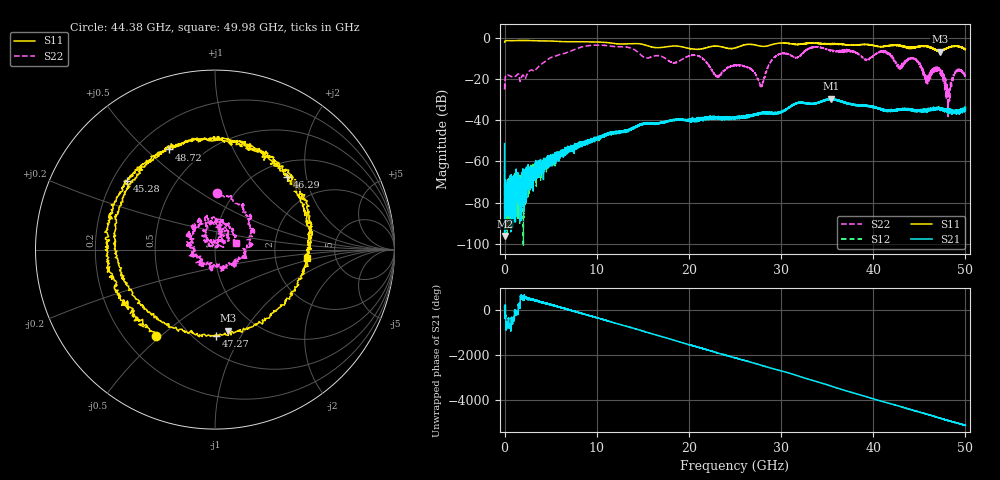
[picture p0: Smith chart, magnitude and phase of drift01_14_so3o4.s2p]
!Created with skrf (http://scikit-rf.org).
# Hz S RI R 50.0
!freq ReS11 ImS11 ReS21 ImS21 ReS12 ImS12 ReS22 ImS22
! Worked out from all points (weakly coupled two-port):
!   10001 points, 300 kHz to 50 GHz, reference 50 ohm
!   highest |S21| = -29.52 dB at 35.42 GHz (marker M1); lowest = -96.2 dB at 5.3 MHz (marker M2)
!   lowest |S11| = -6.8 dB at 47.22 GHz (marker M3), VSWR 2.69, Z = 37.1 - j42.4 ohm
!   |S11| at or under -10 dB: nowhere
!   |S22| runs from -38.2 to -3.6 dB; largest |S21 - S12| = 0.0037
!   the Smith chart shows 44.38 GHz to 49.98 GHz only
!   S11 on the Smith chart (normalised r, x): 44.38 GHz: 0.33, -0.48; 45.28 GHz: 0.26, +0.32; 46.29 GHz: 1.29, +1.54; 47.27 GHz: 0.63, -0.79; 48.72 GHz: 0.33, +0.59; 49.98 GHz: 3.07, -0.39
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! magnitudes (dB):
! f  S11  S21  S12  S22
! 300 kHz  -2.1  -51.4  -62.3  -22.2
! 5.3 MHz  -2.1  -96.2  -83.2  -25.6
! 385.3 MHz  -1.4  -81.3  -77.0  -18.2
! 8.335 GHz  -1.9  -51.2  -51.8  -4.5
! 16.67 GHz  -4.8  -41.8  -41.5  -8.7
! 20.96 GHz  -5.6  -39.0  -39.7  -8.8
! 23.07 GHz  -4.1  -39.1  -39.2  -18.6
! 25 GHz  -5.0  -39.0  -38.8  -13.5
! 27.84 GHz  -4.1  -36.7  -36.5  -22.9
! 29.47 GHz  -2.9  -36.5  -36.5  -8.9
! 33.34 GHz  -2.6  -32.1  -32.1  -4.7
! 35.42 GHz  -2.8  -29.5  -29.7  -6.3
! 41.67 GHz  -3.9  -35.2  -35.5  -7.7
! 44.38 GHz  -4.7  -35.3  -35.3  -10.0
! 45.28 GHz  -4.1  -35.6  -35.1  -15.6
! 46.29 GHz  -4.9  -35.2  -34.6  -16.9
! 47.22 GHz  -6.8  -34.0  -34.4  -17.0
! 47.27 GHz  -6.4  -34.7  -34.6  -16.6
! 48.13 GHz  -4.8  -35.9  -34.9  -32.5
! 48.72 GHz  -4.2  -35.3  -35.9  -18.1
! 49.98 GHz  -5.8  -34.2  -34.8  -18.4
! 50 GHz  -5.6  -34.0  -34.5  -18.4
